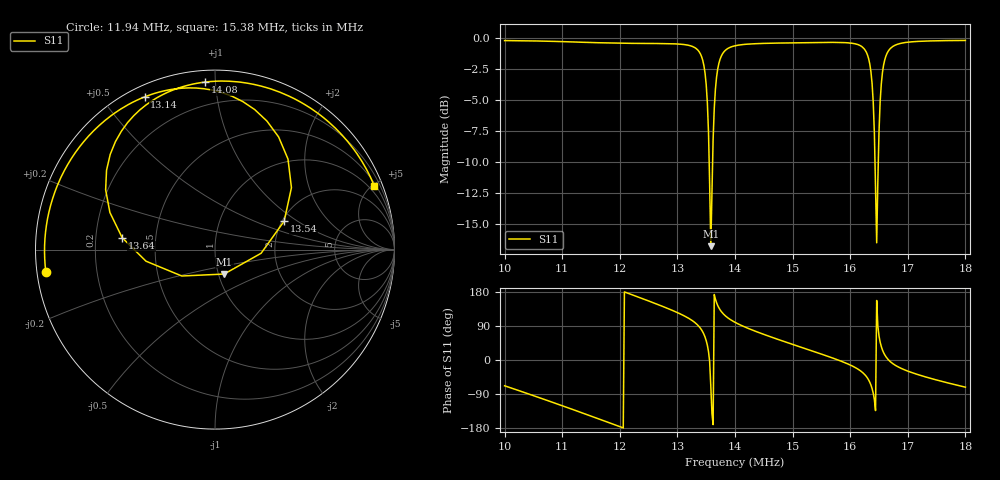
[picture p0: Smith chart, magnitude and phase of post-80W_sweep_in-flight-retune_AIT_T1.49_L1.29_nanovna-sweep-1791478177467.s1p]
! NanoVNA Web complex sweep
! Processing: original sample grid, no browser smoothing
# Hz S RI R 50
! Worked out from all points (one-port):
!   401 points, 10 MHz to 18 MHz, reference 50 ohm
!   lowest |S11| = -16.7 dB at 13.58 MHz (marker M1), VSWR 1.34, Z = 53.2 - j14.8 ohm
!   |S11| at or under -10 dB: 13.55148 MHz to 13.61164 MHz (60.16 kHz wide, 0.443 % of centre); 16.43061 MHz to 16.48782 MHz (57.2 kHz wide, 0.348 % of centre)
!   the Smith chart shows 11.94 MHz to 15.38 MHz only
!   S11 on the Smith chart (normalised r, x): 11.94 MHz: 0.03, -0.07; 13.14 MHz: 0.05, +0.64; 13.54 MHz: 2.05, +0.79; 13.64 MHz: 0.32, +0.06; 14.08 MHz: 0.06, +0.94; 15.38 MHz: 0.62, +5.13
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1e7  0.3641 -0.9026
1.1e7  -0.4918 -0.8293
1.194e7  -0.9427 -0.1247
1.2e7  -0.9478 -0.0692
1.252e7  -0.8568 0.4058
1.3e7  -0.5425 0.7717
1.314e7  -0.3922 0.8508
1.34e7  0.0936 0.8552
1.348e7  0.3545 0.6276
1.354e7  0.3855 0.1588
1.358e7  0.051 -0.1362
1.364e7  -0.5168 0.0656
1.37e7  -0.6043 0.442
1.378e7  -0.4874 0.7071
1.4e7  -0.1529 0.915
1.408e7  -0.0551 0.9334
1.5e7  0.7173 0.6276
1.538e7  0.8878 0.3546
1.6e7  0.925 -0.2183
1.622e7  0.76 -0.5065
1.634e7  0.4063 -0.6707
1.64e7  0.0252 -0.5501
1.644e7  -0.1722 -0.1818
1.648e7  0.000476 0.2644
1.652e7  0.3765 0.4059
1.662e7  0.8339 0.1281
1.7e7  0.8361 -0.47
1.8e7  0.3065 -0.9252
